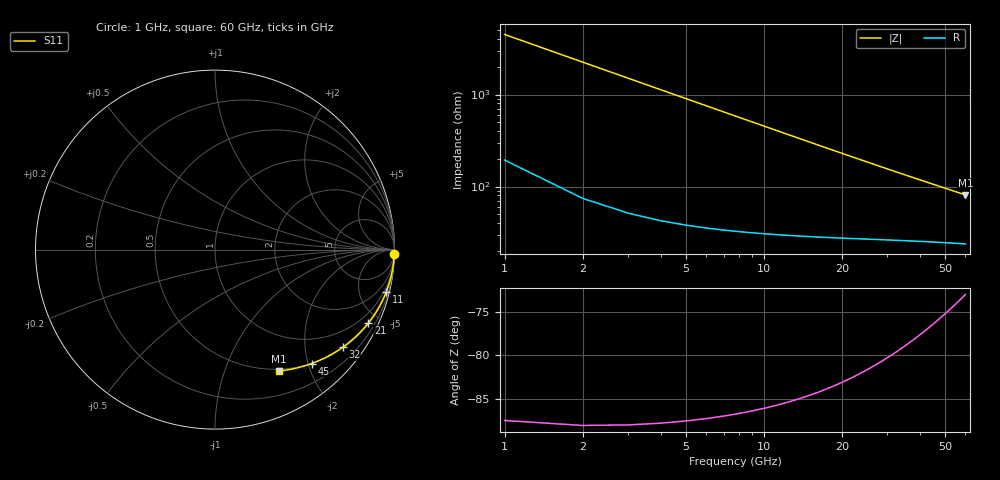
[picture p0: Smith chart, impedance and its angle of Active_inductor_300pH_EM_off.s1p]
! Created Fri Apr 17 23:41:37 2026
# hz S ma R 50
! Port[1] TermG1
! 1 Port Network Data from SP1.SP block
! freq  magS11  angS11
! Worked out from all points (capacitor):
!   60 points, 1 GHz to 60 GHz, reference 50 ohm
!   read as one part to ground: C = 35.4 fF near 1 GHz
!   lowest |Z| = 81.2 ohm at 60 GHz (marker M1)
!   S11 on the Smith chart (normalised r, x): 1 GHz: 4, -90; 11 GHz: 0.60, -8.26; 21 GHz: 0.55, -4.35; 32 GHz: 0.52, -2.88; 45 GHz: 0.50, -2.06; 60 GHz: 0.48, -1.55
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1e9  0.999 -1.3
3e9  0.9977 -3.8
5e9  0.9954 -6.3
7e9  0.992 -8.8
9e9  0.9878 -11.3
1.1e10  0.9828 -13.7
1.3e10  0.977 -16.2
1.6e10  0.967 -19.7
1.9e10  0.9556 -23.2
2.1e10  0.9473 -25.5
2.2e10  0.943 -26.6
2.4e10  0.9341 -28.8
2.5e10  0.9296 -29.9
2.7e10  0.9202 -32.1
2.9e10  0.9107 -34.2
3.1e10  0.9009 -36.3
3.2e10  0.896 -37.3
3.5e10  0.8812 -40.3
3.8e10  0.8664 -43.2
4.1e10  0.8516 -46.1
4.3e10  0.8418 -47.9
4.5e10  0.8322 -49.7
4.6e10  0.8274 -50.6
4.9e10  0.8133 -53.2
5.1e10  0.8041 -54.9
5.3e10  0.7951 -56.6
5.6e10  0.7819 -59.0
6e10  0.7649 -62.2
